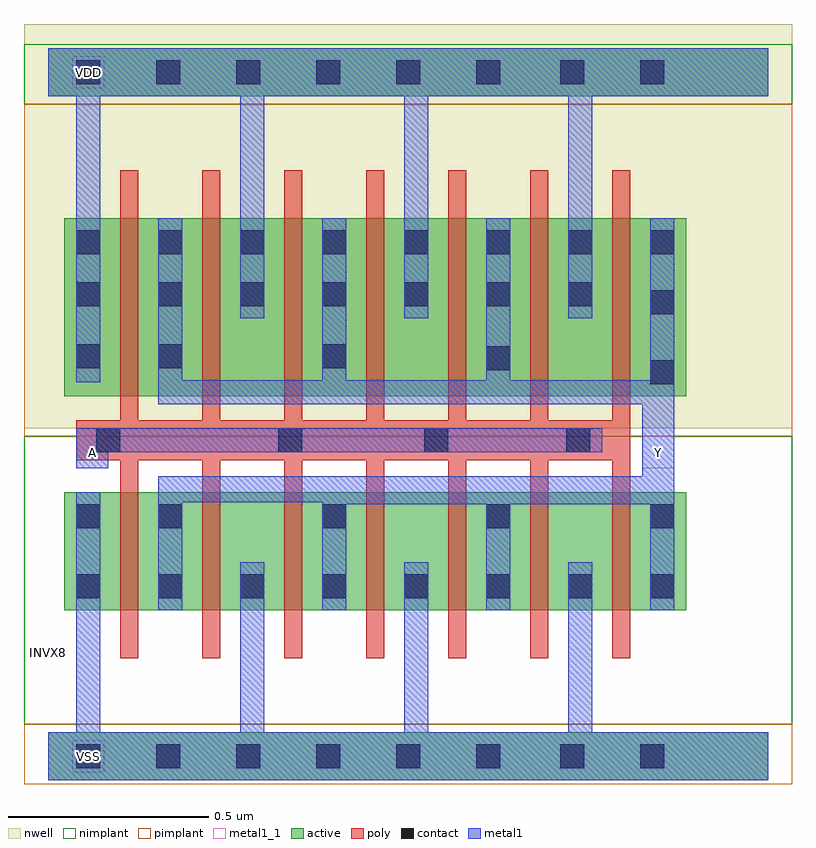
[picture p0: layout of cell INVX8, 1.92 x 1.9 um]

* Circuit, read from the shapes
.subckt INVX8 A VDD VSS Y
M1 Y A VSS VSS nfet w=0.295u l=0.045u m=7
M2 Y A VDD VDD pfet w=0.445u l=0.045u m=7
.ends

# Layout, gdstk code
import gdstk
lib = gdstk.Library(unit=1e-6, precision=5e-10)
def R(c, l, rs):  # rectangles x0, y0, x1, y1
    for r in rs: c.add(gdstk.rectangle(r[:2], r[2:], *l))
def A(c, l, x, y, w, h, nx, ny, dx, dy):  # array of equal rectangles
    R(c, l, [(x+i*dx, y+j*dy, x+i*dx+w, y+j*dy+h) for i in range(nx) for j in range(ny)])
def P(c, l, *ps):  # polygons
    for p in ps: c.add(gdstk.Polygon(p, *l))
active = (1, 0)
nwell = (2, 0)
poly = (3, 0)
nimplant = (4, 0)
pimplant = (5, 0)
contact = (6, 0)
metal1 = (7, 0)
metal1_1 = (7, 1)

invx8 = lib.new_cell('INVX8')
R(invx8, active, [(0,-0.06,1.8,0.06), (0.04,0.365,1.595,0.66), (0.04,0.9,1.595,1.345), (0,1.65,1.8,1.77)])
R(invx8, nwell, [(-0.06,0.82,1.86,1.83)])
P(invx8, poly, [(1.455,1.465),(1.41,1.465),(1.41,0.84),(1.25,0.84),(1.25,1.465),(1.205,1.465),(1.205,0.84),(1.045,0.84),(1.045,1.465),(1,1.465),(1,0.84),(0.84,0.84),(0.84,1.465),(0.795,1.465),(0.795,0.84),(0.635,0.84),(0.635,1.465),(0.59,1.465),(0.59,0.84),(0.43,0.84),(0.43,1.465),(0.385,1.465),(0.385,0.84),(0.225,0.84),(0.225,1.465),(0.18,1.465),(0.18,0.84),(0.07,0.84),(0.07,0.74),(0.18,0.74),(0.18,0.245),(0.225,0.245),(0.225,0.74),(0.385,0.74),(0.385,0.245),(0.43,0.245),(0.43,0.74),(0.59,0.74),(0.59,0.245),(0.635,0.245),(0.635,0.74),(0.795,0.74),(0.795,0.245),(0.84,0.245),(0.84,0.74),(1,0.74),(1,0.245),(1.045,0.245),(1.045,0.74),(1.205,0.74),(1.205,0.245),(1.25,0.245),(1.25,0.74),(1.41,0.74),(1.41,0.245),(1.455,0.245)])
R(invx8, nimplant, [(-0.06,0.08,1.86,0.8), (-0.06,1.63,1.86,1.78)])
R(invx8, pimplant, [(-0.06,-0.07,1.86,0.08), (-0.06,0.8,1.86,1.63)])
A(invx8, contact, 0.07, -0.03, 0.06, 0.06, 6, 2, 0.2, 1.71)
A(invx8, contact, 0.07, 0.395, 0.06, 0.06, 8, 2, 0.205, 0.86)
A(invx8, contact, 0.275, 0.57, 0.06, 0.06, 4, 1, 0.41, 0)
A(invx8, contact, 0.07, 1.125, 0.06, 0.06, 7, 1, 0.205, 0)
R(invx8, contact, [(1.28,-0.03,1.34,0.03), (1.48,-0.03,1.54,0.03), (0.07,0.57,0.13,0.63), (0.12,0.76,0.18,0.82), (0.575,0.76,0.635,0.82), (0.94,0.76,1,0.82), (1.295,0.76,1.355,0.82), (1.505,0.93,1.565,0.99), (1.095,0.965,1.155,1.025), (0.07,0.97,0.13,1.03), (0.275,0.97,0.335,1.03), (0.685,0.97,0.745,1.03), (1.505,1.105,1.565,1.165), (1.28,1.68,1.34,1.74), (1.48,1.68,1.54,1.74)])
P(invx8, metal1, [(1.8,1.77),(0,1.77),(0,1.65),(0.07,1.65),(0.07,0.935),(0.13,0.935),(0.13,1.65),(0.48,1.65),(0.48,1.095),(0.54,1.095),(0.54,1.65),(0.89,1.65),(0.89,1.095),(0.95,1.095),(0.95,1.65),(1.3,1.65),(1.3,1.095),(1.36,1.095),(1.36,1.65),(1.8,1.65)],
  [(1.565,1.345),(1.505,1.345),(1.505,0.94),(1.155,0.94),(1.155,1.345),(1.095,1.345),(1.095,0.94),(0.745,0.94),(0.745,1.345),(0.685,1.345),(0.685,0.94),(0.335,0.94),(0.335,1.345),(0.275,1.345),(0.275,0.88),(1.485,0.88),(1.485,0.7),(0.275,0.7),(0.275,0.365),(0.335,0.365),(0.335,0.635),(0.685,0.635),(0.685,0.365),(0.745,0.365),(0.745,0.63),(1.095,0.63),(1.095,0.365),(1.155,0.365),(1.155,0.63),(1.505,0.63),(1.505,0.365),(1.565,0.365)],
  [(1.385,0.82),(0.07,0.82),(0.07,0.72),(0.15,0.72),(0.15,0.76),(1.385,0.76)],
  [(1.8,0.06),(1.36,0.06),(1.36,0.485),(1.3,0.485),(1.3,0.06),(0.95,0.06),(0.95,0.485),(0.89,0.485),(0.89,0.06),(0.54,0.06),(0.54,0.485),(0.48,0.485),(0.48,0.06),(0.13,0.06),(0.13,0.66),(0.07,0.66),(0.07,0.06),(0,0.06),(0,-0.06),(1.8,-0.06)])
R(invx8, metal1_1, [(0.06,-0.04,0.14,0.04), (0.07,0.72,0.15,0.8), (1.485,0.72,1.565,0.8), (0.06,1.67,0.14,1.75)])
invx8.add(gdstk.Label('VSS', (0.1,0), layer=7, texttype=1))
invx8.add(gdstk.Label('Y', (1.525,0.76), layer=7, texttype=1))
invx8.add(gdstk.Label('A', (0.11,0.76), layer=7, texttype=1))
invx8.add(gdstk.Label('VDD', (0.1,1.71), layer=7, texttype=1))
invx8.add(gdstk.Label('INVX8', (0,0.26), layer=63, texttype=0))

lib.write_gds('INVX8.gds')
